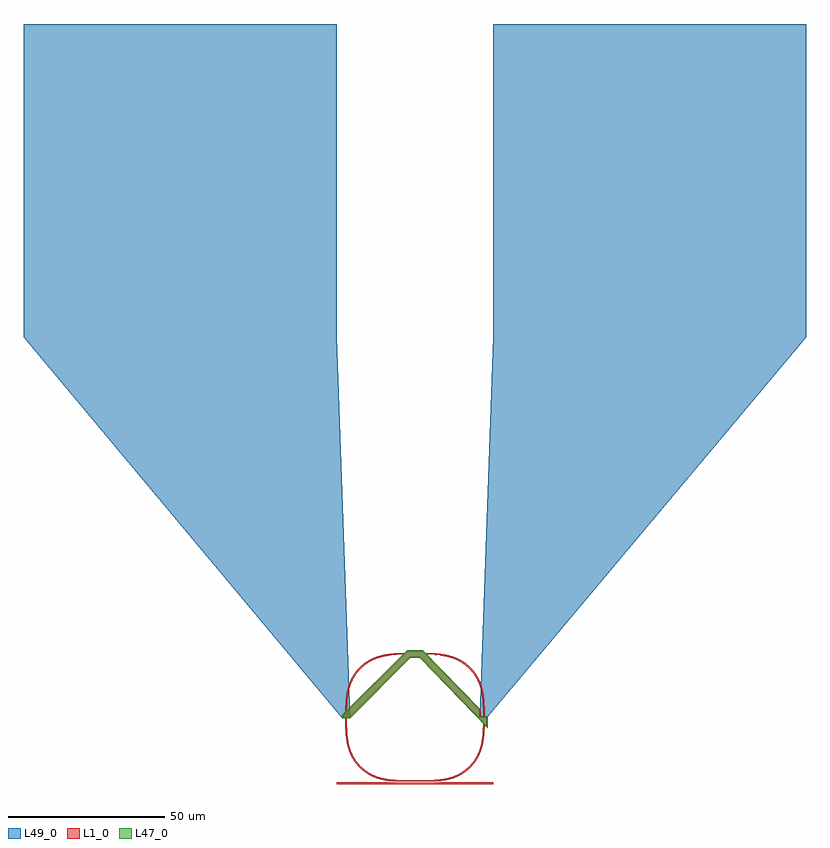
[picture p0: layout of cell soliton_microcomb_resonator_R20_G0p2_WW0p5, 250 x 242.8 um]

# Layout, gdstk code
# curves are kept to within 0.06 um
from math import pi, radians
import gdstk
lib = gdstk.Library(unit=1e-6, precision=1e-09)
def R(c, l, rs):  # rectangles x0, y0, x1, y1
    for r in rs: c.add(gdstk.rectangle(r[:2], r[2:], *l))
def P(c, l, *ps):  # polygons
    for p in ps: c.add(gdstk.Polygon(p, *l))
L1_0 = (1, 0)
L47_0 = (47, 0)
L49_0 = (49, 0)

coupler_ring_gdsfactoryp = lib.new_cell('coupler_ring_gdsfactorypcomponentspcouplerspcoupler_rin_fa85cc70')
R(coupler_ring_gdsfactoryp, L1_0, [(-27,-0.25,23,0.25)])
P(coupler_ring_gdsfactoryp, L1_0, [(-4.677,0.45),(-7.526,0.496),(-9.701,0.646),(-11.595,0.915),(-13.593,1.397),(-15.396,2.068),(-16.979,2.9),(-18.447,3.922),(-19.777,5.118),(-20.947,6.47),(-21.941,7.957),(-22.742,9.556),(-23.38,11.37),(-23.833,13.375),(-24.093,15.407),(-24.218,17.582),(-24.25,20.7),(-23.75,20.7),(-23.714,17.463),(-23.57,15.184),(-23.268,13.065),(-22.745,10.998),(-22.12,9.387),(-21.373,7.98),(-20.468,6.668),(-19.42,5.468),(-18.136,4.314),(-16.72,3.327),(-15.192,2.525),(-13.448,1.876),(-11.635,1.432),(-9.782,1.158),(-7.506,0.996),(-4.676,0.95),(3.237,0.986),(5.382,1.117),(7.372,1.383),(9.32,1.838),(10.948,2.418),(12.606,3.259),(14.136,4.314),(15.42,5.468),(16.708,6.986),(17.767,8.673),(18.527,10.369),(19.131,12.412),(19.512,14.651),(19.704,17.194),(19.75,20.7),(20.25,20.7),(20.209,17.31),(20.054,14.999),(19.706,12.702),(19.134,10.584),(18.397,8.806),(17.351,7.027),(16.061,5.417),(14.555,4.008),(13.097,2.972),(11.396,2.068),(9.593,1.397),(7.595,0.915),(5.701,0.646),(3.526,0.496)])

bend_euler_gdsfactorypco = lib.new_cell('bend_euler_gdsfactorypcomponentspbendspbend_euler_R20_A_9304f6d5')
P(bend_euler_gdsfactorypco, L1_0, [(0,-0.25),(0,0.25),(3.237,0.286),(5.516,0.43),(7.635,0.732),(9.702,1.255),(11.313,1.88),(12.72,2.627),(14.032,3.532),(15.232,4.58),(16.386,5.864),(17.373,7.28),(18.12,8.687),(18.745,10.298),(19.268,12.365),(19.57,14.484),(19.714,16.763),(19.75,20),(20.25,20),(20.209,16.61),(20.054,14.299),(19.785,12.405),(19.342,10.539),(18.742,8.856),(17.941,7.257),(16.947,5.77),(15.68,4.32),(14.23,3.053),(12.743,2.059),(11.144,1.258),(9.461,0.658),(7.595,0.215),(5.701,-0.054),(3.39,-0.209)])

straight_gdsfactorypcomp = lib.new_cell('straight_gdsfactorypcomponentspwaveguidespstraight_L4_N_a6eac62c')
R(straight_gdsfactorypcomp, L1_0, [(0,-0.25,4,0.25)])

c_straight_gdsfactorypcomp = lib.new_cell('straight_gdsfactorypcomponentspwaveguidespstraight_L0p6_058e2168')
R(c_straight_gdsfactorypcomp, L1_0, [(0,-0.25,0.6,0.25)])

ring_single_gdsfactorypc = lib.new_cell('ring_single_gdsfactorypcomponentspringspring_single_G0p_3f4f9516')
ring_single_gdsfactorypc.add(gdstk.Reference(coupler_ring_gdsfactoryp, (0,0)))
ring_single_gdsfactorypc.add(gdstk.Reference(bend_euler_gdsfactorypco, (-4,41.3), rotation=pi))
ring_single_gdsfactorypc.add(gdstk.Reference(bend_euler_gdsfactorypco, (20,21.3), rotation=pi/2))
ring_single_gdsfactorypc.add(gdstk.Reference(straight_gdsfactorypcomp, (0,41.3), rotation=pi))
ring_single_gdsfactorypc.add(gdstk.Reference(c_straight_gdsfactorypcomp, (-24,20.7), rotation=pi/2))
ring_single_gdsfactorypc.add(gdstk.Reference(c_straight_gdsfactorypcomp, (20,21.3), rotation=3*pi/2))

unnamed_9 = lib.new_cell('Unnamed_9')
P(unnamed_9, L1_0, [(21,18.234),(-0.423,40.3),(-3.586,40.3),(-23,20.886),(-23,20.7),(-25,20.7),(-25,21.714),(-4.414,42.3),(0.423,42.3),(19,23.166),(19,21.3),(21,21.3)])
P(unnamed_9, L47_0, [(21.25,17.618),(-0.529,40.05),(-3.482,40.05),(-22.75,20.782),(-22.75,20.7),(-25.25,20.7),(-25.25,21.818),(-4.518,42.55),(0.529,42.55),(18.75,23.782),(18.75,21.3),(21.25,21.3)])

pad_gdsfactorypcomponent = lib.new_cell('pad_gdsfactorypcomponentsppadsppad_S100_100_LMTOP_BLNon_af5ddc87')
R(pad_gdsfactorypcomponent, L49_0, [(-50,-50,50,50)])

pad_array_gdsfactorypcom = lib.new_cell('pad_array_gdsfactorypcomponentsppadsppad_Ppad_C2_R1_CP1_5a3ff9b8')
r = gdstk.Reference(pad_gdsfactorypcomponent, (0,0)); r.repetition = gdstk.Repetition(2, 1, v1=(150,0), v2=(0,0)); pad_array_gdsfactorypcom.add(r)

unnamed_10 = lib.new_cell('Unnamed_10')
P(unnamed_10, L49_0, [(-25.25,20.7),(-127,142.55),(-27,142.55),(-22.75,20.7)],
  [(18.75,21.3),(23,142.55),(123,142.55),(21.25,21.3)])
unnamed_10.add(gdstk.Reference(unnamed_9, (0,0)))
unnamed_10.add(gdstk.Reference(pad_array_gdsfactorypcom, (-77,192.55)))

soliton_microcomb_resona = lib.new_cell('soliton_microcomb_resonator_R20_G0p2_WW0p5')
soliton_microcomb_resona.add(gdstk.Reference(ring_single_gdsfactorypc, (0,0)))
soliton_microcomb_resona.add(gdstk.Reference(unnamed_10, (0,0)))

lib.write_gds('soliton_microcomb_resonator_R20_G0p2_WW0p5.gds')
